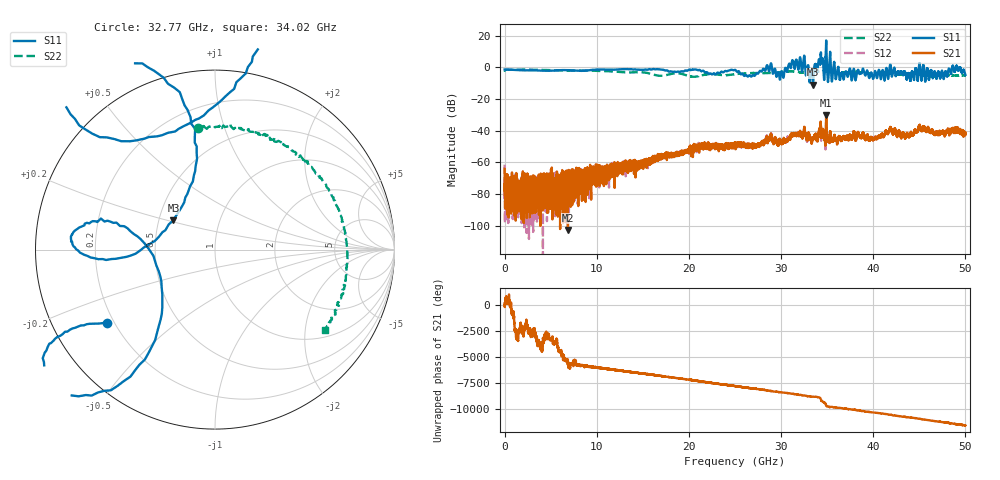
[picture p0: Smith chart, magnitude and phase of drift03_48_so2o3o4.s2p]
!Created with skrf (http://scikit-rf.org).
# Hz S RI R 50.0
!freq ReS11 ImS11 ReS21 ImS21 ReS12 ImS12 ReS22 ImS22
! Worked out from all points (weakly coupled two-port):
!   10001 points, 300 kHz to 50 GHz, reference 50 ohm
!   highest |S21| = -30.02 dB at 34.89 GHz (marker M1); lowest = -102.7 dB at 6.87 GHz (marker M2)
!   lowest |S11| = -11.0 dB at 33.47 GHz (marker M3), VSWR 1.79, Z = 29.8 + j10.6 ohm
!   |S11| at or under -10 dB: 33.447 GHz to 33.48574 GHz (38.74 MHz wide, 0.116 % of centre)
!   |S22| runs from -5.9 to -1.3 dB; largest |S21 - S12| = 0.0091
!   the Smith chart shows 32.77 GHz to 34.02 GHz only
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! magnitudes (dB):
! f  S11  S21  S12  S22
! 300 kHz  -1.3  -64.1  -61.4  -2.0
! 390.3 MHz  -1.4  -79.8  -74.0  -1.4
! 6.87 GHz  -1.7  -102.7  -69.4  -2.0
! 8.335 GHz  -2.2  -67.9  -73.5  -1.9
! 16.67 GHz  -1.1  -56.1  -56.3  -5.2
! 25 GHz  -1.5  -48.1  -48.9  -4.2
! 26.92 GHz  -4.9  -49.6  -49.5  -3.6
! 28.73 GHz  -2.2  -46.2  -46.2  -3.5
! 30.06 GHz  -2.5  -47.7  -48.0  -2.8
! 31.87 GHz  -1.4  -42.7  -42.0  -2.9
! 33.34 GHz  -2.1  -47.4  -47.0  -2.9
! 33.47 GHz  -11.0  -45.7  -45.1  -2.8
! 34.3 GHz  7.8  -34.2  -34.6  -2.3
! 34.89 GHz  16.9  -30.0  -31.4  -2.3
! 36.58 GHz  -3.4  -46.0  -46.5  -3.5
! 40.18 GHz  -2.4  -44.5  -43.9  -3.7
! 41.67 GHz  -5.4  -40.5  -40.3  -3.6
! 43.84 GHz  -3.9  -43.3  -43.5  -3.9
! 45.21 GHz  -6.8  -39.3  -39.5  -4.4
! 47.06 GHz  -2.7  -42.2  -42.0  -5.1
! 49.21 GHz  -2.0  -39.1  -38.7  -5.2
! 50 GHz  -4.8  -41.3  -42.5  -4.9
